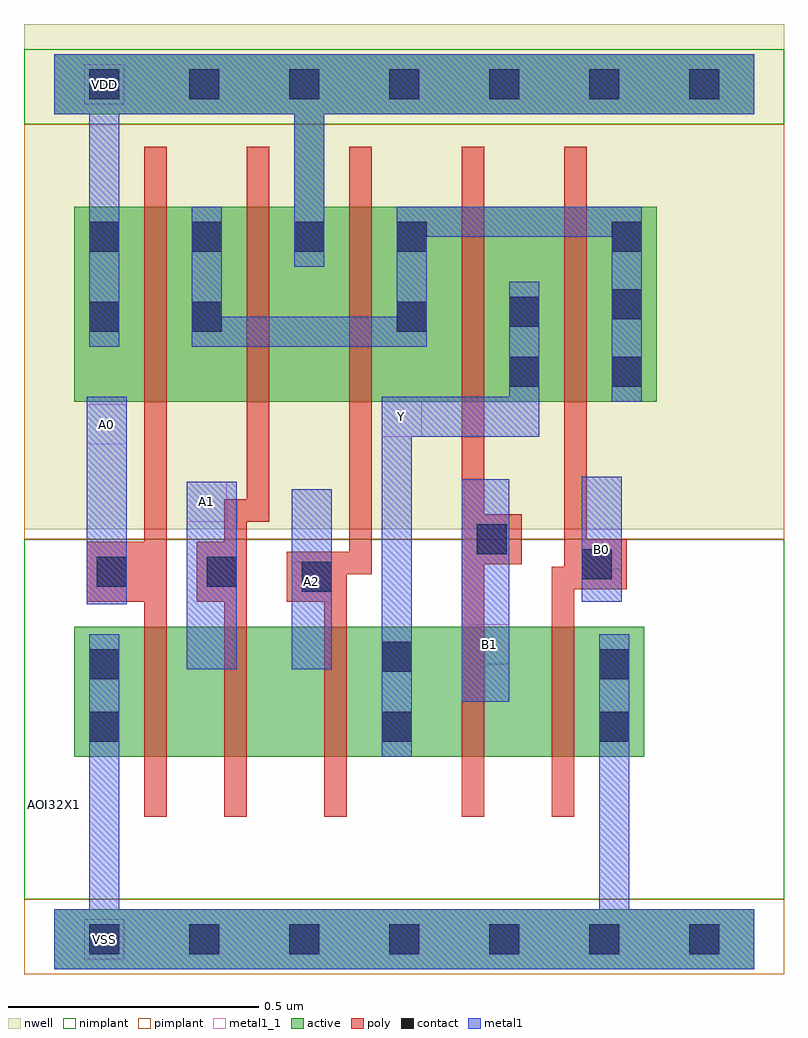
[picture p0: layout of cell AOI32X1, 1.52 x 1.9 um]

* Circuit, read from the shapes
.subckt AOI32X1 A0 A1 A2 B0 B1 VDD VSS Y
M1 n1 A0 VSS VSS nfet w=0.26u l=0.045u
M2 n2 A1 n1 VSS nfet w=0.26u l=0.045u
M3 Y A2 n2 VSS nfet w=0.26u l=0.045u
M4 n3 B1 Y VSS nfet w=0.26u l=0.045u
M5 VSS B0 n3 VSS nfet w=0.26u l=0.045u
M6 n4 A0 VDD VDD pfet w=0.39u l=0.045u
M7 VDD A1 n4 VDD pfet w=0.39u l=0.045u
M8 n4 A2 VDD VDD pfet w=0.39u l=0.045u
M9 Y B1 n4 VDD pfet w=0.39u l=0.045u
M10 n4 B0 Y VDD pfet w=0.39u l=0.045u
.ends

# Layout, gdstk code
import gdstk
lib = gdstk.Library(unit=1e-6, precision=5e-10)
def R(c, l, rs):  # rectangles x0, y0, x1, y1
    for r in rs: c.add(gdstk.rectangle(r[:2], r[2:], *l))
def A(c, l, x, y, w, h, nx, ny, dx, dy):  # array of equal rectangles
    R(c, l, [(x+i*dx, y+j*dy, x+i*dx+w, y+j*dy+h) for i in range(nx) for j in range(ny)])
def P(c, l, *ps):  # polygons
    for p in ps: c.add(gdstk.Polygon(p, *l))
active = (1, 0)
nwell = (2, 0)
poly = (3, 0)
nimplant = (4, 0)
pimplant = (5, 0)
contact = (6, 0)
metal1 = (7, 0)
metal1_1 = (7, 1)

aoi32x1 = lib.new_cell('AOI32X1')
R(aoi32x1, active, [(0,-0.06,1.4,0.06), (0.04,0.365,1.18,0.625)])
P(aoi32x1, active, [(1.4,1.77),(0,1.77),(0,1.65),(0.48,1.65),(0.48,1.465),(0.04,1.465),(0.04,1.075),(1.205,1.075),(1.205,1.465),(0.54,1.465),(0.54,1.65),(1.4,1.65)])
R(aoi32x1, nwell, [(-0.06,0.82,1.46,1.83)])
P(aoi32x1, poly, [(1.145,0.8),(1.065,0.8),(1.065,1.585),(1.02,1.585),(1.02,0.745),(0.995,0.745),(0.995,0.245),(1.04,0.245),(1.04,0.7),(1.145,0.7)],
  [(0.935,0.85),(0.86,0.85),(0.86,1.585),(0.815,1.585),(0.815,0.245),(0.86,0.245),(0.86,0.75),(0.935,0.75)],
  [(0.635,1.585),(0.59,1.585),(0.59,0.775),(0.465,0.775),(0.465,0.675),(0.54,0.675),(0.54,0.245),(0.585,0.245),(0.585,0.73),(0.635,0.73)],
  [(0.43,1.585),(0.385,1.585),(0.385,0.88),(0.34,0.88),(0.34,0.795),(0.285,0.795),(0.285,0.675),(0.34,0.675),(0.34,0.245),(0.385,0.245),(0.385,0.835),(0.43,0.835)],
  [(0.225,1.585),(0.18,1.585),(0.18,0.795),(0.065,0.795),(0.065,0.675),(0.18,0.675),(0.18,0.245),(0.225,0.245)])
R(aoi32x1, nimplant, [(-0.06,0.08,1.46,0.8), (-0.06,1.63,1.46,1.78)])
R(aoi32x1, pimplant, [(-0.06,-0.07,1.46,0.08), (-0.06,0.8,1.46,1.63)])
A(aoi32x1, contact, 0.07, -0.03, 0.06, 0.06, 7, 2, 0.2, 1.71)
A(aoi32x1, contact, 1.115, 1.105, 0.06, 0.06, 1, 3, 0, 0.135)
A(aoi32x1, contact, 0.07, 1.375, 0.06, 0.06, 4, 1, 0.205, 0)
R(aoi32x1, contact, [(0.07,0.395,0.13,0.455), (0.655,0.395,0.715,0.455), (1.09,0.395,1.15,0.455), (0.07,0.52,0.13,0.58), (1.09,0.52,1.15,0.58), (0.655,0.535,0.715,0.595), (0.495,0.695,0.555,0.755), (0.085,0.705,0.145,0.765), (0.305,0.705,0.365,0.765), (1.055,0.72,1.115,0.78), (0.845,0.77,0.905,0.83), (0.91,1.105,0.97,1.165), (0.07,1.215,0.13,1.275), (0.275,1.215,0.335,1.275), (0.685,1.215,0.745,1.275), (0.91,1.225,0.97,1.285)])
R(aoi32x1, metal1, [(0.815,0.475,0.91,0.92), (0.265,0.54,0.365,0.915), (0.475,0.54,0.555,0.9), (0.065,0.67,0.145,1.085), (1.055,0.675,1.135,0.925)])
P(aoi32x1, metal1, [(1.4,0.06),(1.15,0.06),(1.15,0.61),(1.09,0.61),(1.09,0.06),(0.13,0.06),(0.13,0.61),(0.07,0.61),(0.07,0.06),(0,0.06),(0,-0.06),(1.4,-0.06)],
  [(1.4,1.77),(0,1.77),(0,1.65),(0.07,1.65),(0.07,1.185),(0.13,1.185),(0.13,1.65),(0.48,1.65),(0.48,1.345),(0.54,1.345),(0.54,1.65),(1.4,1.65)],
  [(1.175,1.465),(0.685,1.465),(0.685,1.245),(0.335,1.245),(0.335,1.465),(0.275,1.465),(0.275,1.185),(0.745,1.185),(0.745,1.405),(1.115,1.405),(1.115,1.075),(1.175,1.075)],
  [(0.97,1.315),(0.91,1.315),(0.91,1.085),(0.655,1.085),(0.655,0.365),(0.715,0.365),(0.715,1.005),(0.97,1.005)])
R(aoi32x1, metal1_1, [(0.06,-0.04,0.14,0.04), (0.83,0.55,0.91,0.63), (0.475,0.675,0.555,0.755), (1.055,0.74,1.135,0.82), (0.265,0.835,0.345,0.915), (0.065,0.99,0.145,1.07), (0.655,1.005,0.735,1.085), (0.06,1.67,0.14,1.75)])
aoi32x1.add(gdstk.Label('Y', (0.695,1.045), layer=7, texttype=1))
aoi32x1.add(gdstk.Label('A1', (0.305,0.875), layer=7, texttype=1))
aoi32x1.add(gdstk.Label('B1', (0.87,0.59), layer=7, texttype=1))
aoi32x1.add(gdstk.Label('A2', (0.515,0.715), layer=7, texttype=1))
aoi32x1.add(gdstk.Label('B0', (1.095,0.78), layer=7, texttype=1))
aoi32x1.add(gdstk.Label('A0', (0.105,1.03), layer=7, texttype=1))
aoi32x1.add(gdstk.Label('VDD', (0.1,1.71), layer=7, texttype=1))
aoi32x1.add(gdstk.Label('VSS', (0.1,0), layer=7, texttype=1))
aoi32x1.add(gdstk.Label('AOI32X1', (0,0.27), layer=63, texttype=0))

lib.write_gds('AOI32X1.gds')
